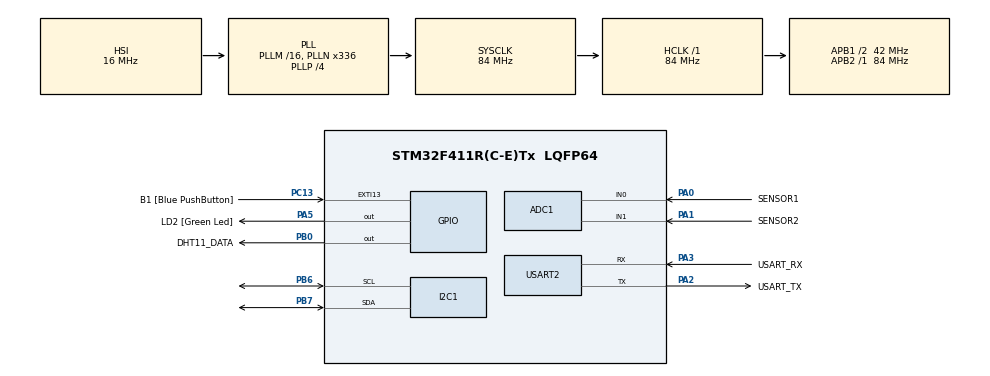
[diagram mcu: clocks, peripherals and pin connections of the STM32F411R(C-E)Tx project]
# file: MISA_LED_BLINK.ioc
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ADC1.Channel-0\#ChannelRegularConversion=ADC_CHANNEL_TEMPSENSOR
ADC1.NbrOfConversionFlag=1
ADC1.Rank-0\#ChannelRegularConversion=1
ADC1.SamplingTime-0\#ChannelRegularConversion=ADC_SAMPLETIME_3CYCLES
ADC1.master=1
Mcu.Family=STM32F4
Mcu.Name=STM32F411R(C-E)Tx
Mcu.Package=LQFP64
NVIC.PriorityGroup=NVIC_PRIORITYGROUP_0
NVIC.TIM2_IRQn=true\:0\:0\:false\:false\:true\:true\:true
PA0-WKUP.GPIO_Label=SENSOR1
PA0-WKUP.Signal=ADCx_IN0
PA1.GPIO_Label=SENSOR2
PA1.Signal=ADCx_IN1
PA13.GPIO_Label=TMS
PA13.Mode=Serial_Wire
PA13.Signal=SYS_JTMS-SWDIO
PA14.GPIO_Label=TCK
PA14.Mode=Serial_Wire
PA14.Signal=SYS_JTCK-SWCLK
PA2.GPIO_Label=USART_TX
PA2.Mode=Asynchronous
PA2.Signal=USART2_TX
PA3.GPIO_Label=USART_RX
PA3.Mode=Asynchronous
PA3.Signal=USART2_RX
PA5.GPIO_Label=LD2 [Green Led]
PA5.PinState=GPIO_PIN_SET
PA5.Signal=GPIO_Output
PB0.GPIO_Label=DHT11_DATA
PB0.GPIO_PuPd=GPIO_PULLUP
PB0.GPIO_Speed=GPIO_SPEED_FREQ_LOW
PB0.PinState=GPIO_PIN_SET
PB0.Signal=GPIO_Output
PB3.GPIO_Label=SWO
PB3.Signal=SYS_JTDO-SWO
PB6.Mode=I2C
PB6.Signal=I2C1_SCL
PB7.Mode=I2C
PB7.Signal=I2C1_SDA
PC13-ANTI_TAMP.GPIO_Label=B1 [Blue PushButton]
PC13-ANTI_TAMP.GPIO_ModeDefaultEXTI=GPIO_MODE_IT_FALLING
PC13-ANTI_TAMP.Signal=GPXTI13
PC14-OSC32_IN.Mode=LSE-External-Oscillator
PC14-OSC32_IN.Signal=RCC_OSC32_IN
PC15-OSC32_OUT.Mode=LSE-External-Oscillator
PC15-OSC32_OUT.Signal=RCC_OSC32_OUT
PH0\ -\ OSC_IN.Mode=HSE-External-Clock-Source
PH0\ -\ OSC_IN.Signal=RCC_OSC_IN
PH1\ -\ OSC_OUT.Mode=HSE-External-Clock-Source
PH1\ -\ OSC_OUT.Signal=RCC_OSC_OUT
ProjectManager.HeapSize=0x200
ProjectManager.StackSize=0x400
ProjectManager.TargetToolchain=STM32CubeIDE
RCC.48MHZClocksFreq_Value=84000000
RCC.AHBFreq_Value=84000000
RCC.APB1CLKDivider=RCC_HCLK_DIV2
RCC.APB1Freq_Value=42000000
RCC.APB1TimFreq_Value=84000000
RCC.APB2Freq_Value=84000000
RCC.APB2TimFreq_Value=84000000
RCC.CortexFreq_Value=84000000
RCC.FLatency-AdvancedSettings=FLASH_LATENCY_2
RCC.HCLKFreq_Value=84000000
RCC.HSE_VALUE=8000000
RCC.HSI_VALUE=16000000
RCC.PLLN=336
RCC.PLLP=RCC_PLLP_DIV4
RCC.SYSCLKFreq_VALUE=84000000
RCC.SYSCLKSource=RCC_SYSCLKSOURCE_PLLCLK
RCC.VCOOutputFreq_Value=336000000
SH.ADCx_IN0.0=ADC1_IN0,IN0
SH.ADCx_IN1.0=ADC1_IN1,IN1
TIM2.AutoReloadPreload=TIM_AUTORELOAD_PRELOAD_ENABLE
TIM2.Period=10000-1
TIM2.Prescaler=8400-1
USART2.VirtualMode=VM_ASYNC
VP_ADC1_TempSens_Input.Mode=IN-TempSens
VP_TIM2_VS_ClockSourceINT.Mode=Internal
board=NUCLEO-F411RE

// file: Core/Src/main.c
/* USER CODE BEGIN Header */
/**
  ******************************************************************************
  * @file           : main.c
  * @brief          : Main program body
  ******************************************************************************
  * @attention
  *
  * <h2><center>&copy; Copyright (c) 2022 STMicroelectronics.
  * All rights reserved.</center></h2>
  *
  * This software component is licensed by ST under BSD 3-Clause license,
  * the "License"; You may not use this file except in compliance with the
  * License. You may obtain a copy of the License at:
  *                        opensource.org/licenses/BSD-3-Clause
  *
  ******************************************************************************
  */
/* USER CODE END Header */
#include "main.h"
#include "adc.h"
#include "i2c.h"
#include "tim.h"
#include "usart.h"
#include "gpio.h"

/* USER CODE BEGIN Includes */

#include <string.h>
#include <stdlib.h>
#include "i2c-lcd.h"
#include "dht11.h"
#include "dwt_stm32_delay.h"

/* USER CODE END Includes */

/* USER CODE BEGIN PV */

uint8_t TIMER2_FLAG= 0;

/* USER CODE END PV */

void SystemClock_Config(void);

/* USER CODE BEGIN 0 */

void MISA_DisplayData(char *InfoMsg, int32_t data)
{
	char message[256], aux_message[256];

	strcpy((char *)message, InfoMsg);
	itoa(data, aux_message, 10);
	strcat(message, aux_message);
	strcat(message, "\n\r");
	HAL_UART_Transmit(&huart2, (uint8_t *)message, strlen(message), 0xFFFF);
}

void MISA_DisplayMsg(char *InfoMsg)
{
	char message[256];

	strcpy((char *)message, InfoMsg);
	strcat(message, "\n\r");
	HAL_UART_Transmit(&huart2, (uint8_t *)message, strlen(message), 0xFFFF);
}

/* USER CODE END 0 */

int main(void)
{
  /* USER CODE BEGIN 1 */
	uint32_t ValorSensor1, ValorSensor2;
	uint16_t ValorHumidade, ValorTemperatura;
	uint8_t  DHT11_FLAG ;

  /* USER CODE END 1 */

  /* MCU Configuration--------------------------------------------------------*/

  /* Reset of all peripherals, Initializes the Flash interface and the Systick. */
  HAL_Init();

  /* Configure the system clock */
  SystemClock_Config();

  /* Initialize all configured peripherals */
  MX_GPIO_Init();
  MX_USART2_UART_Init();
  MX_ADC1_Init();
  MX_I2C1_Init();
  MX_TIM2_Init();
  /* USER CODE BEGIN 2 */

  HAL_TIM_Base_MspInit(&htim2);
  HAL_TIM_Base_Start_IT(&htim2);

  DWT_Delay_Init();

/*
  lcd_init();
  lcd_send_string("INITIALISING>>>>");
  HAL_Delay(2000);
  lcd_clear ();
*/

  HAL_Delay(1000);

  /* USER CODE END 2 */

  /* Infinite loop */
  /* USER CODE BEGIN WHILE */
  while (1)
  {
	  //HAL_GPIO_WritePin(LD2_GPIO_Port, LD2_Pin, GPIO_PIN_SET); // Força o pino ao estado "1"
	  //HAL_GPIO_WritePin(LD2_GPIO_Port, LD2_Pin, GPIO_PIN_RESET); // Força o pino ao estado "0"
	  HAL_GPIO_TogglePin(LD2_GPIO_Port, LD2_Pin); // Muda o estado do pino

	  ValorSensor1= MISA_ReadADC(0);
	  ValorSensor2= MISA_ReadADC(1);

	  DHT11_FLAG= DHT11_Get_RH_TEMP_Values(&ValorHumidade, &ValorTemperatura);
	  HAL_Delay(10); //Espera sem fazer nada durante 10 milisegundos
	  if(DHT11_FLAG == 0) MISA_DisplayMsg("Problem with DHT11!! !");

	  //Faz qualquer coisa com os valores e o resto do que tiver que ser feito...

	  MISA_DisplayData("Valor1= ", ValorSensor1);
	  MISA_DisplayData("Valor2= ", ValorSensor2);
	  MISA_DisplayData("Humidade_x_10= ", ValorHumidade);
	  MISA_DisplayData("Temperatura_x_10= ", ValorTemperatura);

	  while( TIMER2_FLAG == 0)
	  {
		  //Do nothing! The timer2 interrupt will eventually set this variable and then the loop exits
	  }

	  //HAL_Delay(1); //Espera sem fazer nada durante 1000 milisegundos
	  TIMER2_FLAG= 0;

    /* USER CODE END WHILE */

  }
}

void SystemClock_Config(void)
{
  RCC_OscInitTypeDef RCC_OscInitStruct = {0};
  RCC_ClkInitTypeDef RCC_ClkInitStruct = {0};

  /** Configure the main internal regulator output voltage
  */
  __HAL_RCC_PWR_CLK_ENABLE();
  __HAL_PWR_VOLTAGESCALING_CONFIG(PWR_REGULATOR_VOLTAGE_SCALE1);
  /** Initializes the RCC Oscillators according to the specified parameters
  * in the RCC_OscInitTypeDef structure.
  */
  RCC_OscInitStruct.OscillatorType = RCC_OSCILLATORTYPE_HSI;
  RCC_OscInitStruct.HSIState = RCC_HSI_ON;
  RCC_OscInitStruct.HSICalibrationValue = RCC_HSICALIBRATION_DEFAULT;
  RCC_OscInitStruct.PLL.PLLState = RCC_PLL_ON;
  RCC_OscInitStruct.PLL.PLLSource = RCC_PLLSOURCE_HSI;
  RCC_OscInitStruct.PLL.PLLM = 16;
  RCC_OscInitStruct.PLL.PLLN = 336;
  RCC_OscInitStruct.PLL.PLLP = RCC_PLLP_DIV4;
  RCC_OscInitStruct.PLL.PLLQ = 4;
  if (HAL_RCC_OscConfig(&RCC_OscInitStruct) != HAL_OK)
  {
    Error_Handler();
  }
  /** Initializes the CPU, AHB and APB buses clocks
  */
  RCC_ClkInitStruct.ClockType = RCC_CLOCKTYPE_HCLK|RCC_CLOCKTYPE_SYSCLK
                              |RCC_CLOCKTYPE_PCLK1|RCC_CLOCKTYPE_PCLK2;
  RCC_ClkInitStruct.SYSCLKSource = RCC_SYSCLKSOURCE_PLLCLK;
  RCC_ClkInitStruct.AHBCLKDivider = RCC_SYSCLK_DIV1;
  RCC_ClkInitStruct.APB1CLKDivider = RCC_HCLK_DIV2;
  RCC_ClkInitStruct.APB2CLKDivider = RCC_HCLK_DIV1;

  if (HAL_RCC_ClockConfig(&RCC_ClkInitStruct, FLASH_LATENCY_2) != HAL_OK)
  {
    Error_Handler();
  }
}

/* USER CODE BEGIN 4 */

void HAL_TIM_PeriodElapsedCallback(TIM_HandleTypeDef *htim)
{
   if (htim->Instance==TIM2)
   {
	  TIMER2_FLAG= 1;
	  HAL_UART_Transmit(&huart2, (uint8_t *)"In_ISR\n\r", strlen("In_ISR\n\r"), 0xFFFF);
   }
}

/* USER CODE END 4 */

void Error_Handler(void)
{
  __disable_irq();
  while (1)
  {
  }
}

/************************ (C) COPYRIGHT STMicroelectronics *****END OF FILE****/
